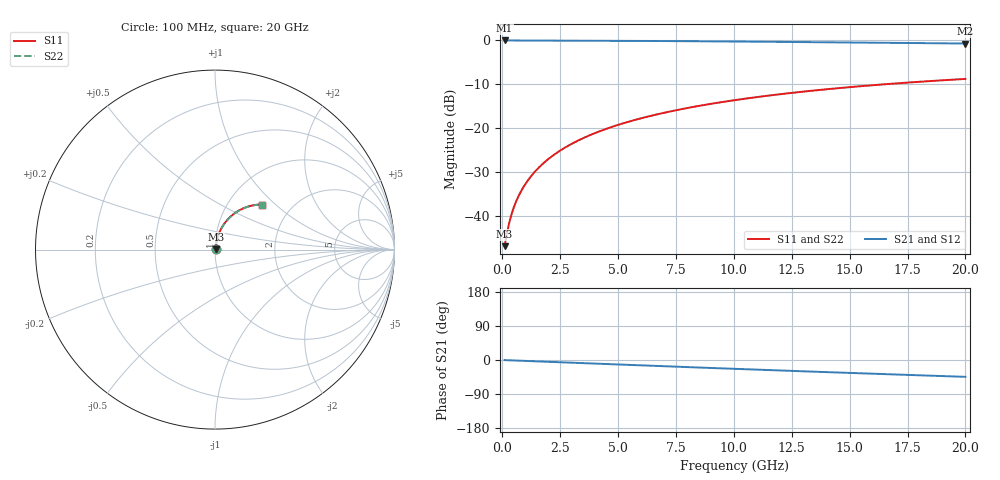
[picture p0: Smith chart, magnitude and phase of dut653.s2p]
! Touchstone file exported from HFSS 2026.1.0
!  File:  C:/ffzhzh/LocalFiles/Ansys_Project_Files/temp_train_TMRDL_653_1783009584_51716.aedt
!  Generated:  12:27:53 AM Jul  3, 2026
!  Design:  TMRDL
!  Project:  temp_train_TMRDL_653_1783009584_51716
! Variables:
!  h_bsmrdl = 2um
!  h_ox = 20um
!  h_rdl = 5um
!  h_sub = 80um
!  h_tmrdl = 3.02um
!  h_tsv = 80um
!  h_via = 3um
!  l_bsmrdl = 300um
!  l_sub = 1075.61um
!  l_tmrdl = 675.61um
!  m_sub = 200um
!  pitch = 43.48um
!  r_tsv = 6um
!  s_tmrdl = 10um
!  w_bsmrdl = 18um
!  w_sub = 500um
!  w_tmrdl = 22.45um
!  x_tsv_center1 = 686.835um
!  x_tsv_center2 = 1004.835um
!  x_tsv_center3 = 1702.895um
!  x_tsv_center4 = 2020.895um
!  x_tsv_center5 = 2718.955um
!  x_tsv_center6 = 3036.955um
# GHz S MA R 50.000000
! Terminal data exported
! Port[1] = TM_RDL1_1_T1
! Port[2] = TM_RDL1_1_T2
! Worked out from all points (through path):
!   200 points, 100 MHz to 20 GHz, reference 50 ohm
!   highest |S21| = -0.03 dB at 100 MHz (marker M1); lowest = -0.7 dB at 20 GHz (marker M2)
!   group delay of S21, straight-line fit = 6.17 ps
!   lowest |S11| = -46.9 dB at 100 MHz (marker M3), VSWR 1.01, Z = 50.4 + j0.251 ohm
!   |S11| at or under -10 dB: start of sweep to 16.55 GHz
!   |S22| runs from -46.9 to -8.8 dB; largest |S21 - S12| = 3.2e-15
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0.1  0.004518 33.5  0.9962 -0.3  0.9962 -0.3  0.004518 33.5
! Gamma 0 0 0 0
! Port Impedance 50 0 50 0
0.2  0.00631 51.0  0.9961 -0.5  0.9961 -0.5  0.00631 51.0
0.3  0.008363 59.7  0.9958 -0.8  0.9958 -0.8  0.008363 59.7
0.4  0.01046 64.6  0.9956 -1.0  0.9956 -1.0  0.01046 64.6
0.5  0.01256 67.9  0.9955 -1.2  0.9955 -1.2  0.01256 67.9
0.6  0.01466 70.2  0.9953 -1.5  0.9953 -1.5  0.01466 70.2
0.8  0.01887 73.4  0.9951 -1.9  0.9951 -1.9  0.01887 73.4
1.1  0.02525 76.0  0.9948 -2.7  0.9948 -2.7  0.02525 76.0
1.3  0.02953 77.1  0.9946 -3.1  0.9946 -3.1  0.02953 77.1
1.6  0.036 78.0  0.9942 -3.8  0.9942 -3.8  0.036 78.0
2.1  0.04681 78.5  0.9936 -5.0  0.9936 -5.0  0.04681 78.5
2.7  0.05978 78.3  0.9927 -6.4  0.9927 -6.4  0.05978 78.3
3.5  0.07699 77.3  0.9912 -8.3  0.9912 -8.3  0.07699 77.3
4.2  0.09191 76.2  0.9896 -10.0  0.9896 -10.0  0.09191 76.2
5  0.1088 74.7  0.9875 -11.8  0.9875 -11.8  0.1088 74.7
5.9  0.1274 72.9  0.9848 -13.9  0.9848 -13.9  0.1274 72.9
6.8  0.1457 71.0  0.9818 -16.0  0.9818 -16.0  0.1457 71.0
8.3  0.1753 67.8  0.9761 -19.4  0.9761 -19.4  0.1753 67.8
10.1  0.2093 64.0  0.9685 -23.5  0.9685 -23.5  0.2093 64.0
13.4  0.267 57.0  0.953 -30.7  0.953 -30.7  0.267 57.0
16.7  0.3184 50.3  0.9362 -37.7  0.9362 -37.7  0.3184 50.2
20  0.3632 43.7  0.9194 -44.4  0.9194 -44.4  0.3632 43.7
